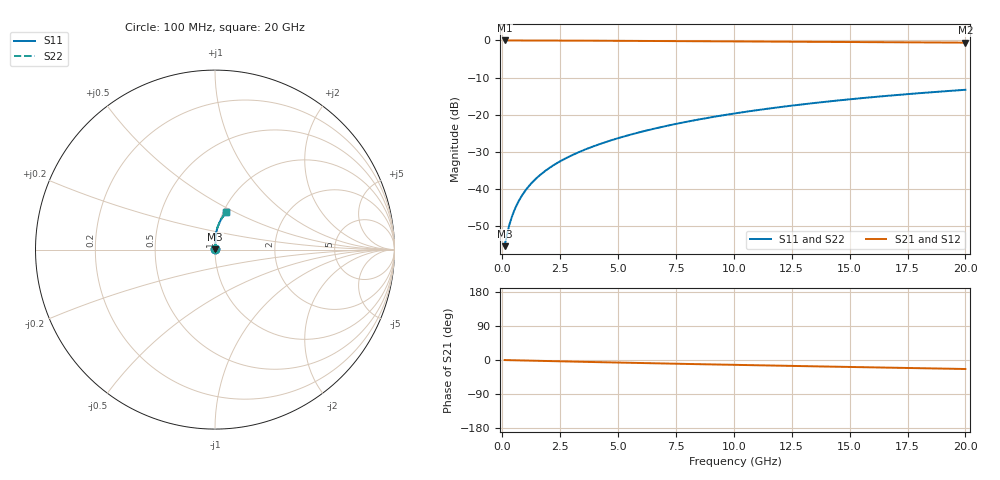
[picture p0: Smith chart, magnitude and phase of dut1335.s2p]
! Touchstone file exported from HFSS 2024.1.0
!  File:  C:/UserFiles/LocalFiles/RDL_TSV_Batchsim/temp_RDL_bottom_1335_1780369597.aedt
!  Generated:  11:08:58 AM Jun  2, 2026
!  Design:  RDL_bottom
!  Project:  temp_RDL_bottom_1335_1780369597
!  Setup:  Setup1
!  Solution:  Sweep
! Variables:
!  dtsv = 10.80580581um
!  hbump = 3um
!  htsv = 67.18um
!  ldown = 350.48um
!  lrdl = 100um
!  p = 40
!  p1 = 43.36um
!  rhole = 1um
!  t = 450um
!  tdown = 4.89um
!  trdl = 3.915915916um
!  wdown = 21.97um
!  wrdl = 20um
# GHz S MA R 50.000000
! Terminal data exported
! Port[1] = RDL1_T1
! Port[2] = RDL1_T2
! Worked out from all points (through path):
!   200 points, 100 MHz to 20 GHz, reference 50 ohm
!   highest |S21| = -0.01 dB at 100 MHz (marker M1); lowest = -0.6 dB at 20 GHz (marker M2)
!   group delay of S21, straight-line fit = 3.26 ps
!   lowest |S11| = -55.5 dB at 100 MHz (marker M3), VSWR 1.00, Z = 50.1 + j0.105 ohm
!   |S11| at or under -10 dB: start of sweep to end of sweep
!   |S22| runs from -55.5 to -13.3 dB; largest |S21 - S12| = 4e-15
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0.1  0.001688 38.4  0.9987 -0.1  0.9987 -0.1  0.001688 38.4
! Gamma 0 0 0 0
! Port Impedance 50 0 50 0
0.2  0.002422 54.7  0.9986 -0.3  0.9986 -0.3  0.002422 54.7
0.3  0.003227 63.7  0.9985 -0.4  0.9985 -0.4  0.003227 63.7
0.4  0.004077 69.2  0.9984 -0.6  0.9984 -0.6  0.004077 69.2
0.5  0.004955 72.9  0.9983 -0.7  0.9983 -0.7  0.004955 72.9
0.6  0.00585 75.5  0.9982 -0.9  0.9982 -0.9  0.00585 75.5
0.8  0.007667 78.9  0.998 -1.1  0.998 -1.1  0.007667 78.9
1.1  0.01043 81.8  0.9977 -1.5  0.9977 -1.5  0.01043 81.8
1.5  0.01414 83.9  0.9972 -2.1  0.9972 -2.1  0.01414 83.9
1.8  0.01693 84.9  0.9967 -2.5  0.9967 -2.5  0.01693 84.9
2.1  0.01974 85.7  0.9961 -2.9  0.9961 -2.9  0.01974 85.7
2.7  0.02541 86.7  0.9948 -3.7  0.9948 -3.7  0.02541 86.7
3.5  0.03311 87.5  0.9927 -4.8  0.9927 -4.8  0.03311 87.5
4.2  0.04002 88.0  0.9905 -5.7  0.9905 -5.7  0.04002 88.0
5  0.04814 88.2  0.9879 -6.8  0.9879 -6.8  0.04815 88.2
6.8  0.06727 87.9  0.9814 -9.0  0.9814 -9.0  0.06728 87.9
8.4  0.08507 86.9  0.9754 -10.9  0.9754 -10.9  0.08509 86.9
10.1  0.1045 85.3  0.9691 -12.9  0.9691 -12.9  0.1045 85.4
11.7  0.1229 83.6  0.9632 -14.7  0.9632 -14.7  0.123 83.6
13.4  0.1426 81.6  0.9571 -16.6  0.9571 -16.6  0.1426 81.7
16.7  0.18 77.6  0.9453 -20.2  0.9453 -20.2  0.1801 77.6
20  0.2161 73.5  0.9334 -23.8  0.9334 -23.8  0.2162 73.5
